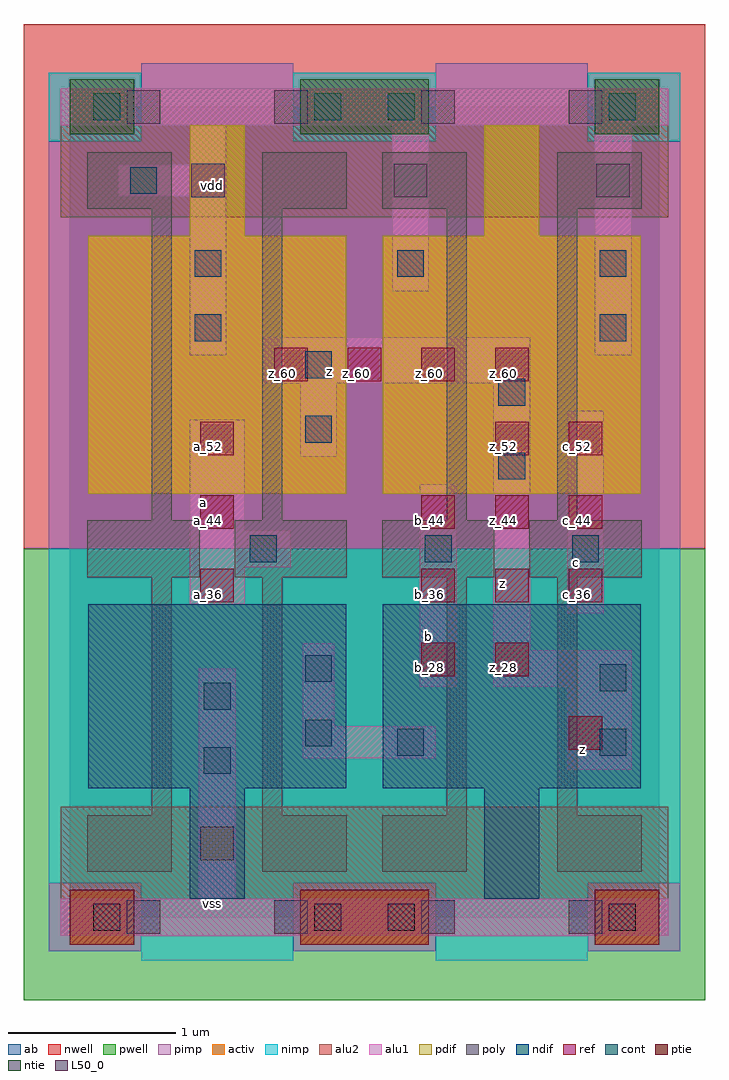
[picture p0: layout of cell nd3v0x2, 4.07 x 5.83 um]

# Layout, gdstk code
import gdstk
lib = gdstk.Library(unit=1e-6, precision=2.5e-09)
def R(c, l, rs):  # rectangles x0, y0, x1, y1
    for r in rs: c.add(gdstk.rectangle(r[:2], r[2:], *l))
def A(c, l, x, y, w, h, nx, ny, dx, dy):  # array of equal rectangles
    R(c, l, [(x+i*dx, y+j*dy, x+i*dx+w, y+j*dy+h) for i in range(nx) for j in range(ny)])
ndif = (3, 0)
pdif = (4, 0)
ntie = (5, 0)
ptie = (6, 0)
ref = (24, 0)
cont = (25, 0)
pwell = (41, 0)
nwell = (42, 0)
activ = (43, 0)
pimp = (44, 0)
nimp = (45, 0)
poly = (46, 0)
alu1 = (49, 0)
L50_0 = (50, 0)
alu2 = (51, 0)
ab = (63, 0)

nd3v0x2 = lib.new_cell('nd3v0x2')
R(nd3v0x2, ndif, [(0.715,0.11,1.045,0.77), (2.475,0.11,2.805,0.77), (0.11,0.77,1.65,1.87), (1.87,0.77,3.41,1.87)])
R(nd3v0x2, pdif, [(0.11,2.53,1.65,4.07), (1.87,2.53,3.41,4.07), (0.715,4.07,1.045,4.73), (2.475,4.07,2.805,4.73)])
R(nd3v0x2, ntie, [(0,4.675,0.385,5.005), (1.375,4.675,2.145,5.005), (3.135,4.675,3.52,5.005)])
R(nd3v0x2, ptie, [(0,-0.165,0.385,0.165), (1.375,-0.165,2.145,0.165), (3.135,-0.165,3.52,0.165)])
A(nd3v0x2, ref, 0.78, 1.88, 0.2, 0.2, 1, 3, 0, 0.44)
A(nd3v0x2, ref, 2.1, 1.88, 0.2, 0.2, 3, 2, 0.44, 0.44)
A(nd3v0x2, ref, 1.22, 3.2, 0.2, 0.2, 4, 1, 0.44, 0)
R(nd3v0x2, ref, [(2.98,1,3.18,1.2), (2.1,1.44,2.3,1.64), (2.54,1.44,2.74,1.64), (2.54,2.76,2.74,2.96), (2.98,2.76,3.18,2.96)])
A(nd3v0x2, cont, 0.745, 3.825, 0.16, 0.16, 3, 1, 1.21, 0)
R(nd3v0x2, cont, [(0.14,-0.08,0.3,0.08), (1.46,-0.08,1.62,0.08), (1.9,-0.08,2.06,0.08), (3.22,-0.08,3.38,0.08), (0.8,0.855,0.96,1.015), (1.955,0.965,2.115,1.125), (3.165,0.965,3.325,1.125), (1.405,1.02,1.565,1.18), (0.8,1.24,0.96,1.4), (3.165,1.35,3.325,1.51), (1.405,1.405,1.565,1.565), (1.075,2.12,1.235,2.28), (2.12,2.12,2.28,2.28), (3,2.12,3.16,2.28), (2.56,2.615,2.72,2.775), (1.405,2.835,1.565,2.995), (2.56,3.055,2.72,3.215), (1.405,3.22,1.565,3.38), (0.745,3.44,0.905,3.6), (3.165,3.44,3.325,3.6), (0.36,4.32,0.52,4.48), (0.14,4.76,0.3,4.92), (1.46,4.76,1.62,4.92), (1.9,4.76,2.06,4.92), (3.22,4.76,3.38,4.92)])
R(nd3v0x2, pwell, [(-0.275,-0.495,3.795,2.2)])
R(nd3v0x2, nwell, [(-0.275,2.2,3.795,5.335)])
R(nd3v0x2, activ, [(0,-0.165,0.385,0.165), (1.375,-0.165,2.145,0.165), (3.135,-0.165,3.52,0.165), (0.715,0.11,1.045,0.77), (2.475,0.11,2.805,0.77), (0.11,0.77,1.65,1.87), (1.87,0.77,3.41,1.87), (0.11,2.53,1.65,4.07), (1.87,2.53,3.41,4.07), (0.715,4.07,1.045,4.73), (2.475,4.07,2.805,4.73), (0,4.675,0.385,5.005), (1.375,4.675,2.145,5.005), (3.135,4.675,3.52,5.005)])
R(nd3v0x2, pimp, [(-0.125,-0.205,0.425,0.205), (1.335,-0.205,2.185,0.205), (3.095,-0.205,3.645,0.205), (-0.125,2.2,3.645,4.635), (0.425,4.635,1.335,5.1), (2.185,4.635,3.095,5.1)])
R(nd3v0x2, nimp, [(0.425,-0.26,1.335,0.205), (2.185,-0.26,3.095,0.205), (-0.125,0.205,3.645,2.2), (-0.125,4.635,0.425,5.045), (1.335,4.635,2.185,5.045), (3.095,4.635,3.645,5.045)])
A(nd3v0x2, poly, 0.105, 2.03, 0.67, 0.34, 4, 1, 0.88, 0)
R(nd3v0x2, poly, [(0.105,0.27,0.61,0.61), (1.15,0.27,1.655,0.61), (1.865,0.27,2.37,0.61), (2.91,0.27,3.415,0.61), (0.49,0.61,0.61,2.03), (1.15,0.61,1.27,2.03), (2.25,0.61,2.37,2.03), (2.91,0.61,3.03,2.03), (0.49,2.37,0.61,4.23), (1.15,2.37,1.27,4.23), (2.25,2.37,2.37,4.23), (2.91,2.37,3.03,4.23), (0.105,4.23,0.61,4.57), (1.15,4.23,1.655,4.57), (1.865,4.23,2.37,4.57), (2.91,4.23,3.415,4.57)])
R(nd3v0x2, alu1, [(-0.055,-0.11,3.575,0.11), (0.77,0.11,0.99,1.485), (2.97,0.88,3.355,1.375), (1.39,0.95,2.185,1.14), (1.39,1.14,1.58,1.635), (2.09,1.375,2.31,2.585), (2.53,1.375,3.355,1.595), (2.53,1.595,2.75,3.19), (2.97,1.815,3.19,3.025), (0.715,1.87,1.045,2.09), (0.715,2.09,1.32,2.31), (0.715,2.31,1.045,2.97), (1.375,2.75,1.595,3.19), (1.155,3.19,2.75,3.465), (0.715,3.355,0.935,4.305), (3.135,3.355,3.355,4.73), (1.925,3.74,2.145,4.73), (0.29,4.305,0.935,4.495), (0.715,4.495,0.935,4.73), (-0.055,4.73,3.575,4.95)])
A(nd3v0x2, L50_0, 0.34, -0.1, 0.2, 0.2, 4, 2, 0.88, 4.84)
A(nd3v0x2, L50_0, 0.725, 4.3, 0.2, 0.2, 3, 1, 1.21, 0)
R(nd3v0x2, L50_0, [(0.78,0.34,0.98,0.54)])
R(nd3v0x2, alu2, [(-0.055,-0.11,3.575,0.66), (-0.055,4.18,3.575,4.95)])
R(nd3v0x2, ab, [(0,0,3.52,4.84)])
nd3v0x2.add(gdstk.Label('z', (3.065,1.0025), layer=49, texttype=0))
nd3v0x2.add(gdstk.Label('c', (3.025,2.1175), layer=49, texttype=0))
nd3v0x2.add(gdstk.Label('z', (2.585,1.9925), layer=49, texttype=0))
nd3v0x2.add(gdstk.Label('b', (2.145,1.6775), layer=49, texttype=0))
nd3v0x2.add(gdstk.Label('a', (0.7975,2.475), layer=49, texttype=0))
nd3v0x2.add(gdstk.Label('z', (1.5525,3.2575), layer=49, texttype=0))
nd3v0x2.add(gdstk.Label('vss', (0.8525,0.0825), layer=51, texttype=0))
nd3v0x2.add(gdstk.Label('vdd', (0.8525,4.3725), layer=51, texttype=0))
nd3v0x2.add(gdstk.Label('z_60', (2.59,3.25), layer=24, texttype=0))
nd3v0x2.add(gdstk.Label('z_60', (1.27,3.25), layer=24, texttype=0))
nd3v0x2.add(gdstk.Label('z_44', (2.59,2.37), layer=24, texttype=0))
nd3v0x2.add(gdstk.Label('z_20', (3.03,1.05), layer=24, texttype=0))
nd3v0x2.add(gdstk.Label('c_52', (3.03,2.81), layer=24, texttype=0))
nd3v0x2.add(gdstk.Label('a_36', (0.83,1.93), layer=24, texttype=0))
nd3v0x2.add(gdstk.Label('a_52', (0.83,2.81), layer=24, texttype=0))
nd3v0x2.add(gdstk.Label('a_44', (0.83,2.37), layer=24, texttype=0))
nd3v0x2.add(gdstk.Label('b_44', (2.15,2.37), layer=24, texttype=0))
nd3v0x2.add(gdstk.Label('b_36', (2.15,1.93), layer=24, texttype=0))
nd3v0x2.add(gdstk.Label('b_28', (2.15,1.49), layer=24, texttype=0))
nd3v0x2.add(gdstk.Label('c_36', (3.03,1.93), layer=24, texttype=0))
nd3v0x2.add(gdstk.Label('c_44', (3.03,2.37), layer=24, texttype=0))
nd3v0x2.add(gdstk.Label('z_36', (2.59,1.93), layer=24, texttype=0))
nd3v0x2.add(gdstk.Label('z_28', (2.59,1.49), layer=24, texttype=0))
nd3v0x2.add(gdstk.Label('z_52', (2.59,2.81), layer=24, texttype=0))
nd3v0x2.add(gdstk.Label('z_60', (2.15,3.25), layer=24, texttype=0))
nd3v0x2.add(gdstk.Label('z_60', (1.71,3.25), layer=24, texttype=0))

lib.write_gds('nd3v0x2.gds')
